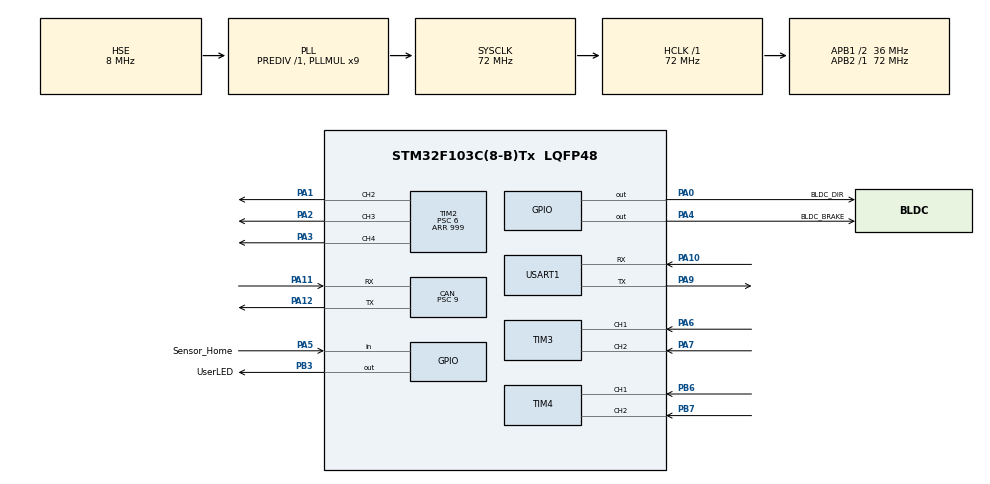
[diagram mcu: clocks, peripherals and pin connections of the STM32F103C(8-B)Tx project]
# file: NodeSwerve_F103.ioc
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CAN.BS1=CAN_BS1_2TQ
CAN.CalculateBaudRate=1000000
CAN.CalculateTimeBit=1000
CAN.CalculateTimeQuantum=250.0
CAN.Mode=CAN_MODE_NORMAL
CAN.Prescaler=9
FREERTOS.INCLUDE_vTaskDelayUntil=1
FREERTOS.Queues01=qCAN,5,uint16_t,0,Dynamic,NULL,NULL
FREERTOS.Tasks01=defaultTask,-3,128,StartDefaultTask,Default,NULL,Dynamic,NULL,NULL;TaskCalcPID,0,128,StartTaskPID,Default,NULL,Static,TaskCalcPIDBuffer,TaskCalcPIDControlBlock;TaskHandleCAN,1,128,StartCANbus,Default,NULL,Static,TaskHandleCANBuffer,TaskHandleCANControlBlock
FREERTOS.configCHECK_FOR_STACK_OVERFLOW=1
FREERTOS.configUSE_NEWLIB_REENTRANT=1
Mcu.Family=STM32F1
Mcu.Name=STM32F103C(8-B)Tx
Mcu.Package=LQFP48
NVIC.CAN1_RX1_IRQn=true\:5\:0\:false\:false\:true\:true\:true\:true\:true
NVIC.PriorityGroup=NVIC_PRIORITYGROUP_4
NVIC.TIM1_UP_IRQn=true\:15\:0\:false\:false\:true\:false\:false\:true\:true
NVIC.TimeBase=TIM1_UP_IRQn
NVIC.TimeBaseIP=TIM1
NVIC.USART1_IRQn=true\:5\:0\:false\:false\:true\:true\:true\:true\:true
NVIC.USB_HP_CAN1_TX_IRQn=true\:5\:0\:false\:false\:true\:true\:true\:true\:true
NVIC.USB_LP_CAN1_RX0_IRQn=true\:5\:0\:false\:false\:true\:true\:true\:true\:true
PA0-WKUP.GPIO_Label=BLDC_DIR
PA0-WKUP.Signal=GPIO_Output
PA1.Signal=S_TIM2_CH2
PA10.Mode=Asynchronous
PA10.Signal=USART1_RX
PA11.Mode=CAN_Activate
PA11.Signal=CAN_RX
PA12.Mode=CAN_Activate
PA12.Signal=CAN_TX
PA13.Mode=Serial_Wire
PA13.Signal=SYS_JTMS-SWDIO
PA14.Mode=Serial_Wire
PA14.Signal=SYS_JTCK-SWCLK
PA2.Signal=S_TIM2_CH3
PA3.Signal=S_TIM2_CH4
PA4.GPIO_Label=BLDC_BRAKE
PA4.Signal=GPIO_Output
PA5.GPIO_Label=Sensor_Home
PA5.Signal=GPIO_Input
PA6.Signal=S_TIM3_CH1
PA7.Signal=S_TIM3_CH2
PA9.Mode=Asynchronous
PA9.Signal=USART1_TX
PB3.GPIO_Label=UserLED
PB3.Signal=GPIO_Output
PB6.Signal=S_TIM4_CH1
PB7.Signal=S_TIM4_CH2
PD0-OSC_IN.Mode=HSE-External-Oscillator
PD0-OSC_IN.Signal=RCC_OSC_IN
PD1-OSC_OUT.Mode=HSE-External-Oscillator
PD1-OSC_OUT.Signal=RCC_OSC_OUT
ProjectManager.HeapSize=0x200
ProjectManager.StackSize=0x400
ProjectManager.TargetToolchain=STM32CubeIDE
RCC.AHBFreq_Value=72000000
RCC.APB1CLKDivider=RCC_HCLK_DIV2
RCC.APB1Freq_Value=36000000
RCC.APB1TimFreq_Value=72000000
RCC.APB2Freq_Value=72000000
RCC.APB2TimFreq_Value=72000000
RCC.HCLKFreq_Value=72000000
RCC.PLLMUL=RCC_PLL_MUL9
RCC.PLLSourceVirtual=RCC_PLLSOURCE_HSE
RCC.SYSCLKFreq_VALUE=72000000
RCC.SYSCLKSource=RCC_SYSCLKSOURCE_PLLCLK
RCC.USBFreq_Value=72000000
SH.S_TIM2_CH2.0=TIM2_CH2,PWM Generation2 CH2
SH.S_TIM2_CH3.0=TIM2_CH3,PWM Generation3 CH3
SH.S_TIM2_CH4.0=TIM2_CH4,PWM Generation4 CH4
SH.S_TIM3_CH1.0=TIM3_CH1,Encoder_Interface
SH.S_TIM3_CH2.0=TIM3_CH2,Encoder_Interface
SH.S_TIM4_CH1.0=TIM4_CH1,Encoder_Interface
SH.S_TIM4_CH2.0=TIM4_CH2,Encoder_Interface
TIM2.Channel-PWM\ Generation2\ CH2=TIM_CHANNEL_2
TIM2.Channel-PWM\ Generation3\ CH3=TIM_CHANNEL_3
TIM2.Channel-PWM\ Generation4\ CH4=TIM_CHANNEL_4
TIM2.Period=999
TIM2.Prescaler=6
TIM3.EncoderMode=TIM_ENCODERMODE_TI12
TIM4.EncoderMode=TIM_ENCODERMODE_TI12
USART1.VirtualMode=VM_ASYNC
VP_FREERTOS_VS_CMSIS_V1.Mode=CMSIS_V1
VP_SYS_VS_tim1.Mode=TIM1
board=custom

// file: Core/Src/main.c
 /* USER CODE BEGIN Header */
/**
 ******************************************************************************
 * @file           : main.c
 * @brief          : Main program body
 ******************************************************************************
 * @attention
 *
 * Copyright (c) 2023 STMicroelectronics.
 * All rights reserved.
 *
 * This software is licensed under terms that can be found in the LICENSE file
 * in the root directory of this software component.
 * If no LICENSE file comes with this software, it is provided AS-IS.
 *
 ******************************************************************************
 */
/* USER CODE END Header */
#include "main.h"
#include "cmsis_os.h"

/* USER CODE BEGIN Includes */
#include "CAN_Control.h"
#include "CAN_FuncHandle.h"
#include "Encoder.h"
#include "BoardParameter.h"
#include "PID_SwerveModule.h"
#include "SetHome.h"
#include "NodeSwerve_AppInterface.h"
#include "AngleOptimizer.h"
/* USER CODE END Includes */

/* USER CODE BEGIN PD */
#define FLASH_ADDR_BASE 0x08000000
#define FLASH_ADDR_TARGET_PAGE 64
#define FLASH_ADDR_TARGET (FLASH_ADDR_BASE + 1024*FLASH_ADDR_TARGET_PAGE)
/* USER CODE END PD */

CAN_HandleTypeDef hcan;

TIM_HandleTypeDef htim2;
TIM_HandleTypeDef htim3;
TIM_HandleTypeDef htim4;

UART_HandleTypeDef huart1;

osThreadId defaultTaskHandle;
osThreadId TaskCalcPIDHandle;
uint32_t TaskCalcPIDBuffer[128];
osStaticThreadDef_t TaskCalcPIDControlBlock;
osThreadId TaskHandleCANHandle;
uint32_t TaskHandleCANBuffer[128];
osStaticThreadDef_t TaskHandleCANControlBlock;
osMessageQId qCANHandle;
/* USER CODE BEGIN PV */
QueueHandle_t qPID, qHome;
bool IsSetHome = false;
bool untangleBLDC = false;
bool BLDC_IsEnablePID = true;
bool DC_IsEnablePID = true;
bool appReceive = false;
uint16_t overrunUART_Count = 0;
uint16_t errorCountUART = 0;
/* USER CODE END PV */

void SystemClock_Config(void);
static void MX_GPIO_Init(void);
static void MX_CAN_Init(void);
static void MX_TIM3_Init(void);
static void MX_TIM4_Init(void);
static void MX_TIM2_Init(void);
static void MX_USART1_UART_Init(void);
void StartDefaultTask(void const *argument);
void StartTaskPID(void const *argument);
void StartCANbus(void const *argument);

/* USER CODE BEGIN 0 */
void HAL_CAN_RxFifo0MsgPendingCallback(CAN_HandleTypeDef *hcan) {
	HAL_CAN_DeactivateNotification(hcan, CAN_IT_RX_FIFO0_MSG_PENDING);
	CAN_MODE_ID modeID = canctrl_Receive_2(hcan, CAN_RX_FIFO0);
	BaseType_t HigherPriorityTaskWoken = pdFALSE;
	xTaskNotifyFromISR(TaskHandleCANHandle, modeID, eSetValueWithOverwrite, &HigherPriorityTaskWoken);
	portYIELD_FROM_ISR(HigherPriorityTaskWoken);
	HAL_GPIO_TogglePin(UserLED_GPIO_Port, UserLED_Pin);
}
void HAL_CAN_RxFifo1MsgPendingCallback(CAN_HandleTypeDef *hcan) {
	HAL_CAN_DeactivateNotification(hcan, CAN_IT_RX_FIFO1_MSG_PENDING);
	CAN_MODE_ID modeID = canctrl_Receive_2(hcan, CAN_RX_FIFO1);
	BaseType_t HigherPriorityTaskWoken = pdFALSE;
	xTaskNotifyFromISR(TaskHandleCANHandle, modeID, eSetValueWithOverwrite, &HigherPriorityTaskWoken);
	portYIELD_FROM_ISR(HigherPriorityTaskWoken);
	HAL_GPIO_TogglePin(UserLED_GPIO_Port, UserLED_Pin);
}

void CAN_Init() {
	HAL_CAN_Start(&hcan);
	HAL_CAN_ActivateNotification(&hcan, CAN_IT_RX_FIFO0_MSG_PENDING
			| CAN_IT_RX_FIFO1_MSG_PENDING
			| CAN_IT_RX_FIFO0_FULL);
	uint16_t deviceID = *(__IO uint32_t*) FLASH_ADDR_TARGET << CAN_DEVICE_POS;
	canctrl_Filter_List16(&hcan,
			deviceID | CANCTRL_MODE_LED_BLUE,
			deviceID | CANCTRL_MODE_UNTANGLE_WIRE,
			deviceID | CANCTRL_MODE_MOTOR_SPEED_ANGLE,
			deviceID | CANCTRL_MODE_NODE_REQ_SPEED_ANGLE,
			0, CAN_RX_FIFO0);
	canctrl_Filter_List16(&hcan,
			deviceID | CANCTRL_MODE_PID_BLDC_SPEED,
			deviceID | CANCTRL_MODE_PID_DC_ANGLE,
			deviceID | CANCTRL_MODE_PID_DC_SPEED,
			deviceID | CANCTRL_MODE_PID_BLDC_BREAKPROTECTION,
			1, CAN_RX_FIFO0);
	canctrl_Filter_Mask16(&hcan,
			1 << CAN_RTR_REMOTE,
			0,
			1 << CAN_RTR_REMOTE,
			0,
			2,
			CAN_RX_FIFO0);

	/* CAN1(address) = *(__IO uint32_t*)(0x40000000UL 			 +  0x00006400			+ 0x01C				)
	 CAN1(address) = *(__IO uint32_t*)(PERIPHERAL_BASE_ADDRESS + APB1_BASE_ADDRESS 	+ CAN_BASE_ADDRESS  )*/
//Access bxCAN register:
	// method 1:
//  if(hcan.Init.Mode == CAN_MODE_LOOPBACK)
	// method 2:
//	if(hcan.Instance->BTR & (CAN_BTR_LBKM))
	// method 3:
//	(CAN1->BTR & (CAN_BTR_LBKM))
}

void can_GetPID_CompleteCallback(CAN_PID canPID, PID_type type) {
	PID_Param pid = brd_GetPID(type);
	canfunc_Convert_CAN_PID_to_PID_Param(canPID, &pid);
	brd_SetPID(pid, type);
}

void handleFunctionCAN(CAN_MODE_ID mode) {
	switch (mode) {
		case CANCTRL_MODE_SHOOT:
			break;
		case CANCTRL_MODE_SET_HOME:
			break;
		case CANCTRL_MODE_NODE_REQ_SPEED_ANGLE:
			CAN_SpeedBLDC_AngleDC nodeSpeedAngle;
//			nodeSpeedAngle.bldcSpeed = brd_GetCurrentSpeedBLDC();
			nodeSpeedAngle.bldcSpeed = brd_GetCurrentCountBLDC();
			nodeSpeedAngle.dcAngle = brd_GetCurrentAngleDC();
			canctrl_SetID(CANCTRL_MODE_NODE_REQ_SPEED_ANGLE);
			canctrl_PutMessage((void*) &nodeSpeedAngle, sizeof(nodeSpeedAngle));
			canctrl_Send(&hcan, *(__IO uint32_t*) FLASH_ADDR_TARGET);
			break;
		case CANCTRL_MODE_MOTOR_BLDC_BRAKE:
			//			bool brake = canfunc_GetBoolValue();
//			MotorBLDC mbldc = brd_GetObjMotorBLDC();
//			MotorBLDC_Brake(&mbldc, brake);
			if (canfunc_GetBoolValue()) {
				HAL_TIM_Encoder_Stop(&htim3, TIM_CHANNEL_ALL);
				HAL_TIM_Encoder_Stop(&htim4, TIM_CHANNEL_ALL);
			}
			else {
				HAL_TIM_Encoder_Start(&htim3, TIM_CHANNEL_ALL);
				HAL_TIM_Encoder_Start(&htim4, TIM_CHANNEL_ALL);
			}
			break;
		case CANCTRL_MODE_PID_BLDC_BREAKPROTECTION:
			uint8_t Break = canfunc_GetBoolValue();
			PID_BLDC_BreakProtection(Break);
		case CANCTRL_MODE_TEST:
			//			TestMode = canfunc_GetBoolValue();
			break;
		case CANCTRL_MODE_LED_BLUE:
			break;
		case CANCTRL_MODE_MOTOR_SPEED_ANGLE:
			CAN_SpeedBLDC_AngleDC speedAngle;
			speedAngle = canfunc_MotorGetSpeedAndAngle();
			brd_SetTargetAngleDC(speedAngle.dcAngle);
			brd_SetTargetSpeedBLDC(speedAngle.bldcSpeed);
			break;
		case CANCTRL_MODE_PID_DC_SPEED:
			case CANCTRL_MODE_PID_DC_ANGLE:
			case CANCTRL_MODE_PID_BLDC_SPEED:
			canfunc_GetPID(&can_GetPID_CompleteCallback);
			break;
		case CANCTRL_MODE_UNTANGLE_WIRE:
			if (canfunc_GetBoolValue())
				untangleBLDC = 1;
			else
				untangleBLDC = 0;
			break;
		case CANCTRL_MODE_START:
			case CANCTRL_MODE_END:
			break;
	}
}

void handle_CAN_RTR_Response(CAN_HandleTypeDef *can, CAN_MODE_ID modeID) {
	PID_Param pid;
	switch (modeID) {
		case CANCTRL_MODE_SET_HOME:
			bool setHomeValue = 1;
			xQueueSend(qHome, (void* )&setHomeValue, 1/portTICK_PERIOD_MS);
			break;
//		case CANCTRL_MODE_MOTOR_SPEED_ANGLE:
//			CAN_SpeedBLDC_AngleDC speedAngle;
////			speedAngle.bldcSpeed = brd_GetSpeedBLDC();
//			speedAngle.bldcSpeed = brd_GetCurrentSpeedBLDC();
//			speedAngle.dcAngle = brd_GetCurrentAngleDC();
//			canfunc_RTR_SpeedAngle(can, speedAngle);
			break;
		case CANCTRL_MODE_PID_BLDC_SPEED:
			pid = brd_GetPID(PID_BLDC_SPEED);
			canfunc_RTR_PID(can, pid, PID_BLDC_SPEED);
			break;
		case CANCTRL_MODE_PID_DC_ANGLE:
			pid = brd_GetPID(PID_DC_ANGLE);
			canfunc_RTR_PID(can, pid, PID_DC_ANGLE);
			break;
		case CANCTRL_MODE_PID_DC_SPEED:
			pid = brd_GetPID(PID_DC_SPEED);
			canfunc_RTR_PID(can, pid, PID_DC_SPEED);
			break;
		default:
			break;
	}
}

void SetHomeCompleteCallback() {
	Encoder_t encDC = brd_GetObjEncDC();
	encoder_ResetCount(&encDC);
	brd_SetObjEncDC(encDC);
	canfunc_SetBoolValue(1, CANCTRL_MODE_SET_HOME);
	canctrl_Send(&hcan, *(__IO uint32_t*) FLASH_ADDR_TARGET);
}

void Flash_Write(CAN_DEVICE_ID ID) {
	uint32_t targetAddr = FLASH_ADDR_BASE + 1024 * 64;
	FLASH_EraseInitTypeDef fe;
	fe.TypeErase = FLASH_TYPEERASE_PAGES;
	fe.PageAddress = targetAddr;
	fe.NbPages = 1;
	fe.Banks = FLASH_BANK_1;
	uint32_t pageErr = 0;
	HAL_FLASH_Unlock();
	if (HAL_FLASHEx_Erase(&fe, &pageErr) != HAL_OK) {
//		 return HAL_FLASH_GetError();
		while (1);
	}
	if (HAL_FLASH_Program(FLASH_TYPEPROGRAM_WORD, FLASH_ADDR_TARGET, (uint32_t) ID) != HAL_OK) {
//		 return HAL_FLASH_GetError();
		while (1);
	}
	HAL_FLASH_Lock();
}

void HAL_CAN_ErrorCallback(CAN_HandleTypeDef *hcan) {
	while (1);
}

void HAL_UART_ErrorCallback(UART_HandleTypeDef *huart) {
	if (huart->Instance == USART1) {
		__HAL_UART_DISABLE(huart);
		__HAL_UART_CLEAR_OREFLAG(huart);
		errorCountUART++;
		appintf_Reset();
		__HAL_UART_ENABLE(huart);
	}
//	while (1);
}

void HAL_CAN_RxFifo0FullCallback(CAN_HandleTypeDef *hcan) {
	__NOP();
//	HAL_CAN_DeactivateNotification(hcan, CAN_IT_RX_FIFO0_MSG_PENDING);
}

void HAL_UART_RxCpltCallback(UART_HandleTypeDef *huart) {
	appintf_ReceiveDataInterrupt(huart);
}

/* USER CODE END 0 */

int main(void)
{

	/* MCU Configuration--------------------------------------------------------*/

	/* Reset of all peripherals, Initializes the Flash interface and the Systick. */

	HAL_Init();

	/* Configure the system clock */
	SystemClock_Config();

	/* Initialize all configured peripherals */
	MX_GPIO_Init();
	MX_CAN_Init();
	MX_TIM3_Init();
	MX_TIM4_Init();
	MX_TIM2_Init();
	MX_USART1_UART_Init();
	/* USER CODE BEGIN 2 */
	brd_Init();
	qPID = xQueueCreate(2, sizeof(float));
	qHome = xQueueCreate(1, sizeof(bool));

	HAL_UART_Transmit(&huart1, (uint8_t*) "Hello World", strlen("Hello World"), HAL_MAX_DELAY);
//	Flash_Write(CANCTRL_DEVICE_MOTOR_CONTROLLER_1);
	SwerveApp_Init();
//  Flash_Write(CANCTRL_DEVICE_MOTOR_CONTROLLER_1);
//  __HAL_DBGMCU_FREEZE_CAN1();

	/* USER CODE END 2 */

	/* Create the queue(s) */
	/* definition and creation of qCAN */
	osMessageQDef(qCAN, 5, uint16_t);
	qCANHandle = osMessageCreate(osMessageQ(qCAN), NULL);

	/* Create the thread(s) */
	/* definition and creation of defaultTask */
	osThreadDef(defaultTask, StartDefaultTask, osPriorityIdle, 0, 128);
	defaultTaskHandle = osThreadCreate(osThread(defaultTask), NULL);

	/* definition and creation of TaskCalcPID */
	osThreadStaticDef(TaskCalcPID, StartTaskPID, osPriorityNormal, 0, 128, TaskCalcPIDBuffer, &TaskCalcPIDControlBlock);
	TaskCalcPIDHandle = osThreadCreate(osThread(TaskCalcPID), NULL);

	/* definition and creation of TaskHandleCAN */
	osThreadStaticDef(TaskHandleCAN, StartCANbus, osPriorityAboveNormal, 0, 128, TaskHandleCANBuffer, &TaskHandleCANControlBlock);
	TaskHandleCANHandle = osThreadCreate(osThread(TaskHandleCAN), NULL);

	/* Start scheduler */
	osKernelStart();

	/* We should never get here as control is now taken by the scheduler */
	/* Infinite loop */
	while (1) {

	}
}

void SystemClock_Config(void)
{
	RCC_OscInitTypeDef RCC_OscInitStruct = { 0 };
	RCC_ClkInitTypeDef RCC_ClkInitStruct = { 0 };

	/** Initializes the RCC Oscillators according to the specified parameters
	 * in the RCC_OscInitTypeDef structure.
	 */
	RCC_OscInitStruct.OscillatorType = RCC_OSCILLATORTYPE_HSE;
	RCC_OscInitStruct.HSEState = RCC_HSE_ON;
	RCC_OscInitStruct.HSEPredivValue = RCC_HSE_PREDIV_DIV1;
	RCC_OscInitStruct.HSIState = RCC_HSI_ON;
	RCC_OscInitStruct.PLL.PLLState = RCC_PLL_ON;
	RCC_OscInitStruct.PLL.PLLSource = RCC_PLLSOURCE_HSE;
	RCC_OscInitStruct.PLL.PLLMUL = RCC_PLL_MUL9;
	if (HAL_RCC_OscConfig(&RCC_OscInitStruct) != HAL_OK)
			{
		Error_Handler();
	}

	/** Initializes the CPU, AHB and APB buses clocks
	 */
	RCC_ClkInitStruct.ClockType = RCC_CLOCKTYPE_HCLK | RCC_CLOCKTYPE_SYSCLK
			| RCC_CLOCKTYPE_PCLK1 | RCC_CLOCKTYPE_PCLK2;
	RCC_ClkInitStruct.SYSCLKSource = RCC_SYSCLKSOURCE_PLLCLK;
	RCC_ClkInitStruct.AHBCLKDivider = RCC_SYSCLK_DIV1;
	RCC_ClkInitStruct.APB1CLKDivider = RCC_HCLK_DIV2;
	RCC_ClkInitStruct.APB2CLKDivider = RCC_HCLK_DIV1;

	if (HAL_RCC_ClockConfig(&RCC_ClkInitStruct, FLASH_LATENCY_2) != HAL_OK)
			{
		Error_Handler();
	}
}

static void MX_CAN_Init(void)
{

	hcan.Instance = CAN1;
	hcan.Init.Prescaler = 9;
	hcan.Init.Mode = CAN_MODE_NORMAL;
	hcan.Init.SyncJumpWidth = CAN_SJW_1TQ;
	hcan.Init.TimeSeg1 = CAN_BS1_2TQ;
	hcan.Init.TimeSeg2 = CAN_BS2_1TQ;
	hcan.Init.TimeTriggeredMode = DISABLE;
	hcan.Init.AutoBusOff = DISABLE;
	hcan.Init.AutoWakeUp = DISABLE;
	hcan.Init.AutoRetransmission = DISABLE;
	hcan.Init.ReceiveFifoLocked = DISABLE;
	hcan.Init.TransmitFifoPriority = DISABLE;
	if (HAL_CAN_Init(&hcan) != HAL_OK)
			{
		Error_Handler();
	}

}

static void MX_TIM2_Init(void)
{

	TIM_MasterConfigTypeDef sMasterConfig = { 0 };
	TIM_OC_InitTypeDef sConfigOC = { 0 };

	htim2.Instance = TIM2;
	htim2.Init.Prescaler = 6;
	htim2.Init.CounterMode = TIM_COUNTERMODE_UP;
	htim2.Init.Period = 999;
	htim2.Init.ClockDivision = TIM_CLOCKDIVISION_DIV1;
	htim2.Init.AutoReloadPreload = TIM_AUTORELOAD_PRELOAD_DISABLE;
	if (HAL_TIM_PWM_Init(&htim2) != HAL_OK)
			{
		Error_Handler();
	}
	sMasterConfig.MasterOutputTrigger = TIM_TRGO_RESET;
	sMasterConfig.MasterSlaveMode = TIM_MASTERSLAVEMODE_DISABLE;
	if (HAL_TIMEx_MasterConfigSynchronization(&htim2, &sMasterConfig) != HAL_OK)
			{
		Error_Handler();
	}
	sConfigOC.OCMode = TIM_OCMODE_PWM1;
	sConfigOC.Pulse = 0;
	sConfigOC.OCPolarity = TIM_OCPOLARITY_HIGH;
	sConfigOC.OCFastMode = TIM_OCFAST_DISABLE;
	if (HAL_TIM_PWM_ConfigChannel(&htim2, &sConfigOC, TIM_CHANNEL_2) != HAL_OK)
			{
		Error_Handler();
	}
	if (HAL_TIM_PWM_ConfigChannel(&htim2, &sConfigOC, TIM_CHANNEL_3) != HAL_OK)
			{
		Error_Handler();
	}
	if (HAL_TIM_PWM_ConfigChannel(&htim2, &sConfigOC, TIM_CHANNEL_4) != HAL_OK)
			{
		Error_Handler();
	}
	HAL_TIM_MspPostInit(&htim2);

}

static void MX_TIM3_Init(void)
{

	TIM_Encoder_InitTypeDef sConfig = { 0 };
	TIM_MasterConfigTypeDef sMasterConfig = { 0 };

	htim3.Instance = TIM3;
	htim3.Init.Prescaler = 0;
	htim3.Init.CounterMode = TIM_COUNTERMODE_UP;
	htim3.Init.Period = 65535;
	htim3.Init.ClockDivision = TIM_CLOCKDIVISION_DIV1;
	htim3.Init.AutoReloadPreload = TIM_AUTORELOAD_PRELOAD_DISABLE;
	sConfig.EncoderMode = TIM_ENCODERMODE_TI12;
	sConfig.IC1Polarity = TIM_ICPOLARITY_RISING;
	sConfig.IC1Selection = TIM_ICSELECTION_DIRECTTI;
	sConfig.IC1Prescaler = TIM_ICPSC_DIV1;
	sConfig.IC1Filter = 0;
	sConfig.IC2Polarity = TIM_ICPOLARITY_RISING;
	sConfig.IC2Selection = TIM_ICSELECTION_DIRECTTI;
	sConfig.IC2Prescaler = TIM_ICPSC_DIV1;
	sConfig.IC2Filter = 0;
	if (HAL_TIM_Encoder_Init(&htim3, &sConfig) != HAL_OK)
			{
		Error_Handler();
	}
	sMasterConfig.MasterOutputTrigger = TIM_TRGO_RESET;
	sMasterConfig.MasterSlaveMode = TIM_MASTERSLAVEMODE_DISABLE;
	if (HAL_TIMEx_MasterConfigSynchronization(&htim3, &sMasterConfig) != HAL_OK)
			{
		Error_Handler();
	}

}

static void MX_TIM4_Init(void)
{

	TIM_Encoder_InitTypeDef sConfig = { 0 };
	TIM_MasterConfigTypeDef sMasterConfig = { 0 };

	htim4.Instance = TIM4;
	htim4.Init.Prescaler = 0;
	htim4.Init.CounterMode = TIM_COUNTERMODE_UP;
	htim4.Init.Period = 65535;
	htim4.Init.ClockDivision = TIM_CLOCKDIVISION_DIV1;
	htim4.Init.AutoReloadPreload = TIM_AUTORELOAD_PRELOAD_DISABLE;
	sConfig.EncoderMode = TIM_ENCODERMODE_TI12;
	sConfig.IC1Polarity = TIM_ICPOLARITY_RISING;
	sConfig.IC1Selection = TIM_ICSELECTION_DIRECTTI;
	sConfig.IC1Prescaler = TIM_ICPSC_DIV1;
	sConfig.IC1Filter = 0;
	sConfig.IC2Polarity = TIM_ICPOLARITY_RISING;
	sConfig.IC2Selection = TIM_ICSELECTION_DIRECTTI;
	sConfig.IC2Prescaler = TIM_ICPSC_DIV1;
	sConfig.IC2Filter = 0;
	if (HAL_TIM_Encoder_Init(&htim4, &sConfig) != HAL_OK)
			{
		Error_Handler();
	}
	sMasterConfig.MasterOutputTrigger = TIM_TRGO_RESET;
	sMasterConfig.MasterSlaveMode = TIM_MASTERSLAVEMODE_DISABLE;
	if (HAL_TIMEx_MasterConfigSynchronization(&htim4, &sMasterConfig) != HAL_OK)
			{
		Error_Handler();
	}

}

static void MX_USART1_UART_Init(void)
{

	huart1.Instance = USART1;
	huart1.Init.BaudRate = 115200;
	huart1.Init.WordLength = UART_WORDLENGTH_8B;
	huart1.Init.StopBits = UART_STOPBITS_1;
	huart1.Init.Parity = UART_PARITY_NONE;
	huart1.Init.Mode = UART_MODE_TX_RX;
	huart1.Init.HwFlowCtl = UART_HWCONTROL_NONE;
	huart1.Init.OverSampling = UART_OVERSAMPLING_16;
	if (HAL_UART_Init(&huart1) != HAL_OK)
			{
		Error_Handler();
	}

}

static void MX_GPIO_Init(void)
{
	GPIO_InitTypeDef GPIO_InitStruct = { 0 };

	/* GPIO Ports Clock Enable */
	__HAL_RCC_GPIOD_CLK_ENABLE();
	__HAL_RCC_GPIOA_CLK_ENABLE();
	__HAL_RCC_GPIOB_CLK_ENABLE();

	/*Configure GPIO pin Output Level */
	HAL_GPIO_WritePin(GPIOA, BLDC_DIR_Pin | BLDC_BRAKE_Pin, GPIO_PIN_RESET);

	/*Configure GPIO pin Output Level */
	HAL_GPIO_WritePin(UserLED_GPIO_Port, UserLED_Pin, GPIO_PIN_RESET);

	/*Configure GPIO pins : BLDC_DIR_Pin BLDC_BRAKE_Pin */
	GPIO_InitStruct.Pin = BLDC_DIR_Pin | BLDC_BRAKE_Pin;
	GPIO_InitStruct.Mode = GPIO_MODE_OUTPUT_PP;
	GPIO_InitStruct.Pull = GPIO_NOPULL;
	GPIO_InitStruct.Speed = GPIO_SPEED_FREQ_LOW;
	HAL_GPIO_Init(GPIOA, &GPIO_InitStruct);

	/*Configure GPIO pin : Sensor_Home_Pin */
	GPIO_InitStruct.Pin = Sensor_Home_Pin;
	GPIO_InitStruct.Mode = GPIO_MODE_INPUT;
	GPIO_InitStruct.Pull = GPIO_NOPULL;
	HAL_GPIO_Init(Sensor_Home_GPIO_Port, &GPIO_InitStruct);

	/*Configure GPIO pin : UserLED_Pin */
	GPIO_InitStruct.Pin = UserLED_Pin;
	GPIO_InitStruct.Mode = GPIO_MODE_OUTPUT_PP;
	GPIO_InitStruct.Pull = GPIO_NOPULL;
	GPIO_InitStruct.Speed = GPIO_SPEED_FREQ_LOW;
	HAL_GPIO_Init(UserLED_GPIO_Port, &GPIO_InitStruct);

}

/* USER CODE BEGIN 4 */

void SethomeHandle() {
	if (xQueueReceive(qHome, (void*) &IsSetHome, 1 / portTICK_PERIOD_MS) == pdTRUE) {
		brd_SetTargetAngleDC(0);
		brd_SetTargetSpeedBLDC(0);
	}
}

/* USER CODE END 4 */

void StartDefaultTask(void const *argument)
{
	/* USER CODE BEGIN 5 */
	SET_HOME_DEFAULT_TASK:
	sethome_Begin();
	while (!sethome_IsComplete()) {
		sethome_Procedure();
		float speed = sethome_GetSpeed();
		xQueueSend(qPID, (const void* )&speed, 10/portTICK_PERIOD_MS);
		osDelay(1);
	}
	SetHomeCompleteCallback();
	IsSetHome = 0;
	/* Infinite loop */

	for (;;) {
		SethomeHandle();
		if (IsSetHome) {
			osDelay(1);
			goto SET_HOME_DEFAULT_TASK;
		}
		osDelay(1);
	}
	/* USER CODE END 5 */
}

/* USER CODE BEGIN Header_StartTaskPID */
/**
 * @brief Function implementing the TaskCalc thread.
 * @param argument: Not used
 * @retval None
 */
int EncoderCount = 0;
float EncoderAngle = 0;
float TestSpeed,TestAngle;
int direct;
/* USER CODE END Header_StartTaskPID */
void StartTaskPID(void const *argument)
{
	/* USER CODE BEGIN StartTaskPID */
	SET_HOME_PID_TASK:
	PID_BLDC_BreakProtection(1);
	osDelay(1000);
	PID_BLDC_BreakProtection(0);
	/*
	 * The sethome PID DC speed is controlled by message queue speed qPID from default task in set home mode
	 */
	float TargetValue = 0;
	while (!sethome_IsComplete()) {
		xQueueReceive(qPID, &TargetValue, 0);
		PID_DC_CalSpeed((float) TargetValue);
		osDelay(5);
	}
	/* Infinite loop */
	for (;;) {
		if (IsSetHome)
			goto SET_HOME_PID_TASK;
		if (DC_IsEnablePID)
		{
			if (untangleBLDC == true){
				PID_DC_UntangleWireBLDC();
			}else{
				TestAngle = brd_GetTargetAngleDC();
//				float rawAngle = TestAngle;
				angopt_Cal(TestAngle);

				PID_DC_CalPos(angopt_GetOptAngle());
			}
		}
//			PID_DC_CalPos(TestAngle);
		if (BLDC_IsEnablePID) {
			if (untangleBLDC == true)
				PID_BLDC_CalSpeed(0);
			else{
				direct = angopt_QuadRantCheckOutput2(brd_GetTargetAngleDC(),angopt_GetOptAngle());
				PID_BLDC_CalSpeed(direct*brd_GetTargetSpeedBLDC());
//				int direct = angopt_QuadRantCheckOutput2(TestAngle,angopt_GetOptAngle());
//				PID_BLDC_CalSpeed(direct*TestSpeed);
			}

		}else{
			HAL_GPIO_WritePin(BLDC_BRAKE_GPIO_Port, BLDC_BRAKE_Pin, GPIO_PIN_RESET);
		}
		osDelay(5);
	}
	/* USER CODE END StartTaskPID */
}

void StartCANbus(void const *argument)
{
	/* USER CODE BEGIN StartCANbus */
	CAN_Init();
	uint32_t modeID;
	/* Infinite loop */
	for (;;) {
		if (xTaskNotifyWait(pdFALSE, pdFALSE, &modeID, portMAX_DELAY)) {
			CAN_RxHeaderTypeDef rxHeader = canctrl_GetRxHeader();
			if (((rxHeader.StdId >> CAN_DEVICE_POS) == *(__IO uint32_t*) FLASH_ADDR_TARGET)) {
				if (rxHeader.RTR == CAN_RTR_REMOTE)
					handle_CAN_RTR_Response(&hcan, modeID);
				if (rxHeader.RTR == CAN_RTR_DATA)
					handleFunctionCAN((CAN_MODE_ID) modeID);
			}
			HAL_CAN_ActivateNotification(&hcan, CAN_IT_RX_FIFO0_MSG_PENDING | CAN_IT_RX_FIFO1_MSG_PENDING);
		}
//    osDelay(1);
	}
	/* USER CODE END StartCANbus */
}

void HAL_TIM_PeriodElapsedCallback(TIM_HandleTypeDef *htim)
{
	if (htim->Instance == TIM1) {
		HAL_IncTick();
	}
}

void Error_Handler(void)
{
	__disable_irq();
	while (1) {
	}
}

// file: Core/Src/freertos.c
/* USER CODE BEGIN Header */
/**
  ******************************************************************************
  * File Name          : freertos.c
  * Description        : Code for freertos applications
  ******************************************************************************
  * @attention
  *
  * Copyright (c) 2023 STMicroelectronics.
  * All rights reserved.
  *
  * This software is licensed under terms that can be found in the LICENSE file
  * in the root directory of this software component.
  * If no LICENSE file comes with this software, it is provided AS-IS.
  *
  ******************************************************************************
  */
/* USER CODE END Header */

#include "FreeRTOS.h"
#include "task.h"
#include "main.h"

/* GetIdleTaskMemory prototype (linked to static allocation support) */
void vApplicationGetIdleTaskMemory( StaticTask_t **ppxIdleTaskTCBBuffer, StackType_t **ppxIdleTaskStackBuffer, uint32_t *pulIdleTaskStackSize );

/* Hook prototypes */
void vApplicationStackOverflowHook(xTaskHandle xTask, signed char *pcTaskName);

/* USER CODE BEGIN 4 */
__weak void vApplicationStackOverflowHook(xTaskHandle xTask, signed char *pcTaskName)
{
   /* Run time stack overflow checking is performed if
   configCHECK_FOR_STACK_OVERFLOW is defined to 1 or 2. This hook function is
   called if a stack overflow is detected. */
}
/* USER CODE END 4 */

/* USER CODE BEGIN GET_IDLE_TASK_MEMORY */
static StaticTask_t xIdleTaskTCBBuffer;
static StackType_t xIdleStack[configMINIMAL_STACK_SIZE];

void vApplicationGetIdleTaskMemory( StaticTask_t **ppxIdleTaskTCBBuffer, StackType_t **ppxIdleTaskStackBuffer, uint32_t *pulIdleTaskStackSize )
{
  *ppxIdleTaskTCBBuffer = &xIdleTaskTCBBuffer;
  *ppxIdleTaskStackBuffer = &xIdleStack[0];
  *pulIdleTaskStackSize = configMINIMAL_STACK_SIZE;
  /* place for user code */
}
/* USER CODE END GET_IDLE_TASK_MEMORY */
